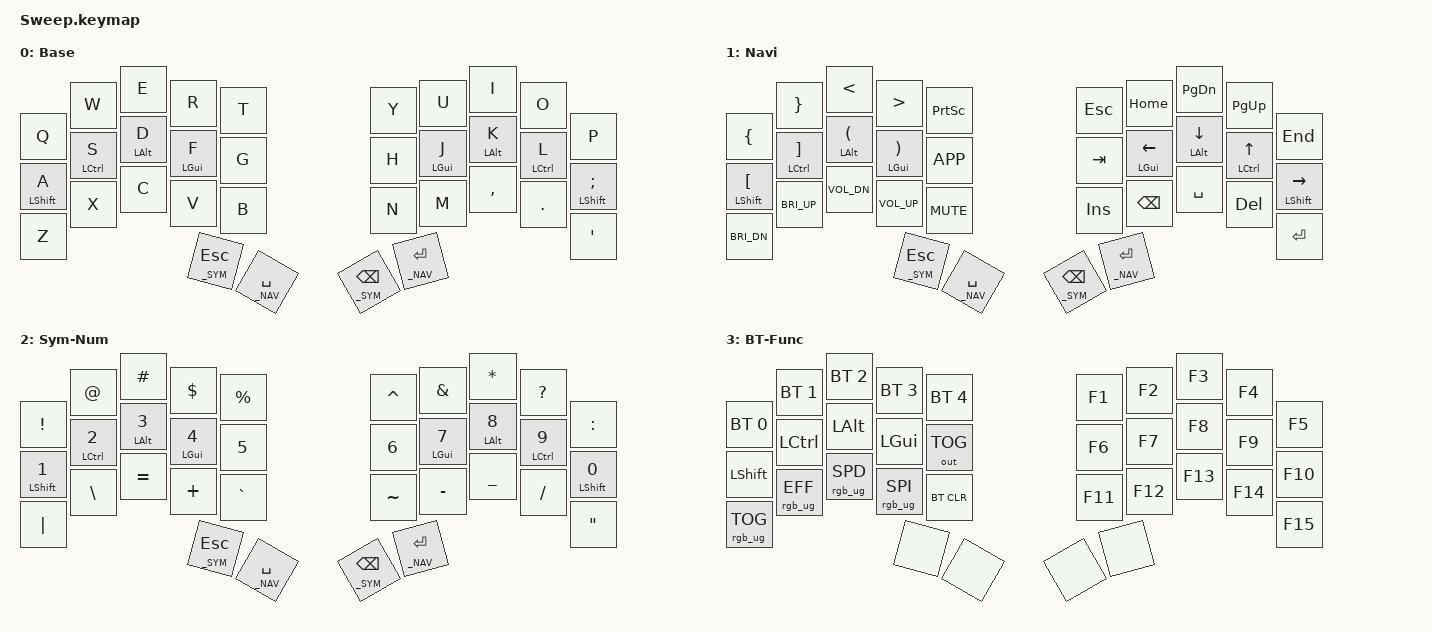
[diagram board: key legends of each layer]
/*
 * Copyright (c) 2021 The ZMK Contributors
 *
 * SPDX-License-Identifier: MIT
 */

#include <behaviors.dtsi>
#include <dt-bindings/zmk/keys.h>
#include <dt-bindings/zmk/bt.h>
#include <dt-bindings/zmk/rgb.h>
#include <dt-bindings/zmk/outputs.h>
#include "keypos_34keys.h"

#define _BASE    0
#define _NAV     1
#define _SYM     2
#define _BTF     3

#define RGB_BASE RGB_COLOR_HSB(0,100,4)
#define RGB_SYM RGB_COLOR_HSB(40,100,4)
#define RGB_NAV RGB_COLOR_HSB(130,100,5)
#define RGB_BTF RGB_COLOR_HSB(230,100,5)

&sk {
    quick-release;
};

/ {
// ------------------------- MACROS --------------------------------
    macros {
        to_BASE: to_BASE {
            compatible = "zmk,behavior-macro";
            #binding-cells = <0>;
            wait-ms = <0>;
            tap-ms = <0>;
            bindings
                = <&rgb_ug RGB_OFF>
                , <&tog _NAV>
                ;
        };

        to_NAV: to_NAV {
            compatible = "zmk,behavior-macro";
            #binding-cells = <0>;
            wait-ms = <0>;
            tap-ms = <0>;
            bindings
                = <&rgb_ug RGB_ON>
                , <&rgb_ug RGB_NAV>
                , <&tog _NAV>
                ;
        };

        mo_BTF: mo_BTF {
            compatible = "zmk,behavior-macro";
            #binding-cells = <0>;
            wait-ms = <0>;
            tap-ms = <0>;
            bindings
                = <&macro_tap &rgb_ug RGB_ON>
                , <&macro_tap &rgb_ug RGB_BTF>
                , <&macro_press &mo _BTF>
                , <&macro_pause_for_release>
                , <&macro_tap &rgb_ug RGB_OFF>
                , <&macro_release &mo _BTF>
                ;
        };

        to_BOOT: to_BOOT {
            compatible = "zmk,behavior-macro";
            #binding-cells = <0>;
            bindings
                = <&rgb_ug RGB_COLOR_HSB(0,100,50)>
                , <&rgb_ug RGB_ON>
                , <&bootloader>
                ;
        };
    };

    combos {
        compatible = "zmk,combos";
// ------------------------- LAYER COMBOS --------------------------------
        combo_BTF1 {
            timeout-ms = <50>;
            key-positions = <LHI RHI>;
            bindings = <&mo_BTF>;
            layers = <_BASE _SYM _NAV>;
        };

        combo_BTF2 {
            timeout-ms = <50>;
            key-positions = <LHI LHO>;
            bindings = <&mo_BTF>;
            layers = <_BASE _SYM _NAV>;
        };

        combo_BTF3 {
            timeout-ms = <50>;
            key-positions = <RHO RHI>;
            bindings = <&mo_BTF>;
            layers = <_BASE _SYM _NAV>;
        };

        combo_NAVR {
            timeout-ms = <50>;
            key-positions = <RMR RMM RMI>;
            bindings = <&to_NAV>;
            layers = <_BASE _SYM>;
        };

        combo_NAVL {
            timeout-ms = <50>;
            key-positions = <LMR LMM LMI>;
            bindings = <&to_NAV>;
            layers = <_BASE _SYM>;
        };

        combo_BASER {
            timeout-ms = <50>;
            key-positions = <RMR RMM RMI>;
            bindings = <&to_BASE>;
            layers = <_NAV>;
        };

        combo_BASEL {
            timeout-ms = <50>;
            key-positions = <LMR LMM LMI>;
            bindings = <&to_BASE>;
            layers = <_NAV>;
        };

// ------------------------- UTILITY COMBOS --------------------------------
        combo_BOOT {
            timeout-ms = <50>;
            key-positions = <LBP LHI LHO>;
            bindings = <&to_BOOT>;
        };

        combo_UNLCK {
            timeout-ms = <200>;
            key-positions = <LTC LBC RTC RBC>;
            bindings = <&studio_unlock>;
            layers = <_BASE>;
            require-prior-idle-ms = <200>;
        };

// ------------------------- MODS COMBOS --------------------------------
        combo_CAPS {
            timeout-ms = <60>;
            key-positions = <LMP RMP>;
            bindings = <&caps_word>;
            require-prior-idle-ms = <200>;
            layers = <_BASE>;
        };

    };

    behaviors {
// ------------------------- HOLD-TAPS --------------------------------
        /* left-hand HRMs */
        hml: hrm_left {
            compatible = "zmk,behavior-hold-tap";
            #binding-cells = <2>;
            flavor = "balanced";
            tapping-term-ms = <300>;
            quick-tap-ms = <150>;                // repeat on tap-into-hold
            require-prior-idle-ms = <150>;
            bindings = <&kp>, <&kp>;
            hold-trigger-key-positions = <KEYS_R THUMBS>;
            hold-trigger-on-release;             // delay positional check until key-release
        };

        /* right-hand HRMs */
        hmr: hrm_right {
            compatible = "zmk,behavior-hold-tap";
            #binding-cells = <2>;
            flavor = "balanced";
            tapping-term-ms = <300>;
            quick-tap-ms = <150>;                // repeat on tap-into-hold
            require-prior-idle-ms = <150>;
            bindings = <&kp>, <&kp>;
            hold-trigger-key-positions = <KEYS_L THUMBS>;
            hold-trigger-on-release;             // delay positional check until key-release
        };

        tht: thumbs-tap {
            compatible = "zmk,behavior-hold-tap";
            #binding-cells = <2>;
            flavor = "balanced";
            tapping-term-ms = <200>;
            quick-tap-ms = <120>;
            require-prior-idle-ms = <100>;
            bindings = <&mo>, <&kp>;
        };
        
    };

    keymap {
        compatible = "zmk,keymap";

                base_layer {
                    display-name = "Base";
// -------------------------------    -------------------------------
// |  Q  |  W  |  E  |  R  |  T  |    |  Y  |  U  |  I  |  O  |  P  |
// |  A  |  S  |  D  |  F  |  G  |    |  H  |  J  |  K  |  L  |  ;  |
// |  Z  |  X  |  C  |  V  |  B  |    |  N  |  M  |  ,  |  .  |  '  |
//       | _SYM(ESC) | _NAV(SPC) |    | _SYM(BSPC) | _NAV(RET) |
                        bindings = <
   &kp Q        &kp W        &kp E       &kp R       &kp T     &kp Y  &kp U       &kp I       &kp O        &kp P
   &hml LSHFT A &hml LCTRL S &hml LALT D &hml LGUI F &kp G     &kp H  &hmr LGUI J &hmr LALT K &hmr LCTRL L &hmr LSHFT SEMI 
   &kp Z        &kp X        &kp C       &kp V       &kp B     &kp N  &kp M       &kp COMMA   &kp DOT      &kp SQT
                            &tht _SYM ESC  &tht _NAV SPACE     &tht _SYM BSPC  &tht _NAV RET
                        >;
                };

                nav_layer {
                    display-name = "Navi";
// -------------------------------    -----------------------------------
// |  {  |  }  |  <  |  >  | PSC |    | ESC | HOME | PGDN | PGUP | END  |
// |  [  |  ]  |  (  |  )  | APP |    | TAB | LEFT | DOWN |  UP  | RGHT |
// | BR- | BR+ |  V- | V+  | V.  |    | INS | BSPC | SPC  | DEL  | RET  |
//       | _SYM(ESC) | _NAV(SPC) |    | _SYM(BSPC) | _NAV(RET) |
                        bindings = <
   &kp LBRC        &kp RBRC        &kp LT         &kp GT         &kp PSCRN     &kp ESC    &kp HOME       &kp PG_DN      &kp PG_UP     &kp END
   &hml LSHFT LBKT &hml LCTRL RBKT &hml LALT LPAR &hml LGUI RPAR &kp K_APP     &kp TAB    &hmr LGUI LEFT &hmr LALT DOWN &hmr LCTRL UP &hmr LSHFT RIGHT
   &kp C_BRI_DN    &kp C_BRI_UP    &kp C_VOL_DN   &kp C_VOL_UP   &kp C_MUTE    &kp INS    &kp BSPC       &kp SPACE      &kp DEL       &kp RET
                                             &tht _SYM ESC  &tht _NAV SPACE    &tht _SYM BSPC  &tht _NAV RET
                        >;
                };
                
                sym_layer {
                    display-name = "Sym-Num";
// -------------------------------    -------------------------------
// |  !  |  @  |  #  |  $  |  %  |    |  ^  |  &  |  *  |  ?  |  :  |
// |  1  |  2  |  3  |  4  |  5  |    |  6  |  7  |  8  |  9  |  0  |
// |  |  |  \  |  =  |  +  |  `  |    |  ~  |  -  |  _  |  /  |  "  |
//       | _SYM(ESC) | _NAV(SPC) |    | _SYM(BSPC) | _NAV(RET) |
                        bindings = <
   &kp EXCL      &kp AT        &kp HASH     &kp DLLR     &kp PRCNT     &kp CARET &kp AMPS     &kp STAR     &kp QMARK     &kp COLON
   &hml LSHFT N1 &hml LCTRL N2 &hml LALT N3 &hml LGUI N4 &kp N5        &kp N6    &hmr LGUI N7 &hmr LALT N8 &hmr LCTRL N9 &hmr LSHFT N0
   &kp PIPE      &kp BSLH      &kp EQUAL    &kp PLUS     &kp GRAVE     &kp TILDE &kp MINUS    &kp UNDER    &kp SLASH     &kp DQT
                                    &tht _SYM ESC  &tht _NAV SPACE     &tht _SYM BSPC  &tht _NAV RET
                        >;
                };

                btf_layer {
                    display-name = "BT-Func";
// -----------------------------------    -------------------------------
// | BT1  | BT2  | BT3  | BT4  | BT5 |    | F1  | F2  | F3  | F4  | F5  |
// | SFT  | CTL  | ALT  | GUI  | USB |    | F6  | F7  | F8  | F9  | F10 |
// | uTOG | uEFF | uSP- | uSP+ | CLR |    | F11 | F12 | F13 | F14 | F15 |
//                       |     |     |    |    |     |
                        bindings = <
   &bt BT_SEL 0    &bt BT_SEL 1    &bt BT_SEL 2    &bt BT_SEL 3    &bt BT_SEL 4   &kp F1  &kp F2  &kp F3  &kp F4  &kp F5       
   &kp LSHIFT      &kp LCTRL       &kp LALT        &kp LGUI        &out OUT_TOG   &kp F6  &kp F7  &kp F8  &kp F9  &kp F10
   &rgb_ug RGB_TOG &rgb_ug RGB_EFF &rgb_ug RGB_SPD &rgb_ug RGB_SPI &bt BT_CLR     &kp F11 &kp F12 &kp F13 &kp F14 &kp F15         
                                                            &none   &none         &none  &none
                        >;
                };   

                extra1 {
                        status = "reserved";
                };

                extra2 {
                        status = "reserved";
                };

                extra3 {
                        status = "reserved";
                };

                extra4 {
                        status = "reserved";
                };
             
    };
};
